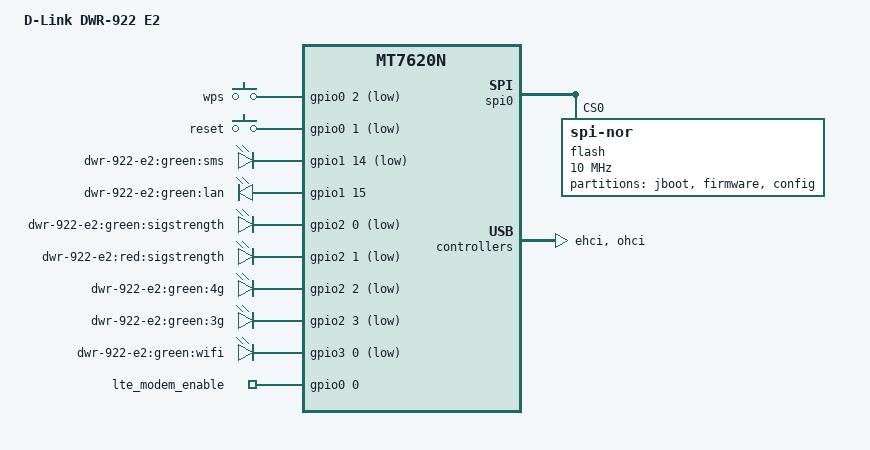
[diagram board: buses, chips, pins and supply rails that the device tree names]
// SPDX-License-Identifier: GPL-2.0-or-later OR MIT
/dts-v1/;

#include "mt7620n.dtsi"

#include <dt-bindings/gpio/gpio.h>
#include <dt-bindings/input/input.h>

/ {
	compatible = "dlink,dwr-922-e2", "ralink,mt7620n-soc";
	model = "D-Link DWR-922 E2";

	aliases {
		led-boot = &sstrengthg;
		led-failsafe = &sstrengthg;
	};

	keys {
		compatible = "gpio-keys-polled";
		poll-interval = <20>;

		wps {
			label = "wps";
			gpios = <&gpio0 2 GPIO_ACTIVE_LOW>;
			linux,code = <KEY_WPS_BUTTON>;
		};

		reset {
			label = "reset";
			gpios = <&gpio0 1 GPIO_ACTIVE_LOW>;
			linux,code = <KEY_RESTART>;
		};
	};

	leds {
		compatible = "gpio-leds";
		led-boot = &sstrengthg;

		sms {
			label = "dwr-922-e2:green:sms";
			gpios = <&gpio1 14 GPIO_ACTIVE_LOW>;
		};

		lan {
			label = "dwr-922-e2:green:lan";
			gpios = <&gpio1 15 GPIO_ACTIVE_HIGH>;
		};

		sstrengthg: sstrengthg {
			label = "dwr-922-e2:green:sigstrength";
			gpios = <&gpio2 0 GPIO_ACTIVE_LOW>;
		};

		sstrengthr {
			label = "dwr-922-e2:red:sigstrength";
			gpios = <&gpio2 1 GPIO_ACTIVE_LOW>;
		};

		4g {
			label = "dwr-922-e2:green:4g";
			gpios = <&gpio2 2 GPIO_ACTIVE_LOW>;
		};

		3g {
			label = "dwr-922-e2:green:3g";
			gpios = <&gpio2 3 GPIO_ACTIVE_LOW>;
		};

		wifi {
			label = "dwr-922-e2:green:wifi";
			gpios = <&gpio3 0 GPIO_ACTIVE_LOW>;
		};
	};

	gpio_export {
		compatible = "gpio-export";
		#size-cells = <0>;

		lte_modem_enable {
			gpio-export,name = "lte_modem_enable";
			gpio-export,output = <1>;
			gpios = <&gpio0 0 GPIO_ACTIVE_HIGH>;
		};
	};
};

&gpio1 {
	status = "okay";
};

&gpio2 {
	status = "okay";
};

&gpio3 {
	status = "okay";
};

&spi0 {
	status = "okay";

	flash@0 {
		compatible = "jedec,spi-nor";
		reg = <0>;
		spi-max-frequency = <10000000>;

		partitions {
			compatible = "fixed-partitions";
			#address-cells = <1>;
			#size-cells = <1>;

			partition@0 {
				label = "jboot";
				reg = <0x0 0x10000>;
				read-only;
			};

			partition@10000 {
				compatible = "amit,jimage";
				label = "firmware";
				reg = <0x10000 0xfe0000>;
			};

			config: partition@ff0000 {
				label = "config";
				reg = <0xff0000 0x10000>;
				read-only;
			};
		};
	};
};

&ehci {
	status = "okay";
};

&ohci {
	status = "okay";
};

&ethernet {
	port@4 {
		status = "okay";
	};
};

&pinctrl {
	state_default: pinctrl0 {
		default {
			ralink,group = "spi refclk", "i2c", "ephy", "wled";
			ralink,function = "gpio";
		};
	};
};
